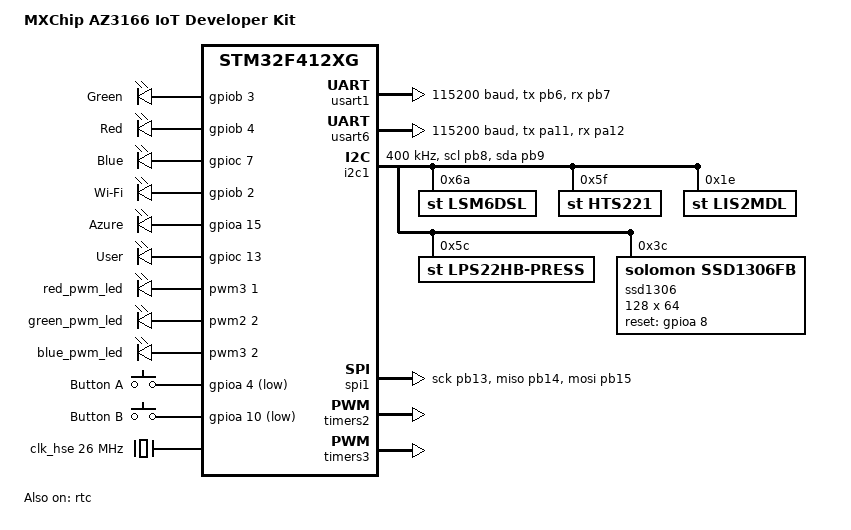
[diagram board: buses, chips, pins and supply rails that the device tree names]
/*
 * Copyright (c) 2023 Benjamin Cabé <benjamin@zephyrproject.org>
 *
 * SPDX-License-Identifier: Apache-2.0
 */

/dts-v1/;
#include <st/f4/stm32f412Xg.dtsi>
#include <st/f4/stm32f412r(e-g)tx-pinctrl.dtsi>
#include <zephyr/dt-bindings/input/input-event-codes.h>

/ {
	model = "MXChip AZ3166 IoT Developer Kit";
	compatible = "mxchip,az3166_iotdevkit";

	aliases {
		led0 = &user_led;
		pwm-led0 = &blue_pwm_led;
		sw0 = &button_a;

		red-led = &red_led;
		green-led = &green_led;
		blue-led = &blue_led;

		red-pwm-led = &red_pwm_led;
		green-pwm-led = &green_pwm_led;
		blue-pwm-led = &blue_pwm_led;
	};

	chosen {
		zephyr,console = &usart6;
		zephyr,shell-uart = &usart6;
		zephyr,sram = &sram0;
		zephyr,flash = &flash0;
		zephyr,display = &ssd1306;
	};

	leds {
		compatible = "gpio-leds";
		green_led: green_led {
			gpios = <&gpiob 3 GPIO_ACTIVE_HIGH>;
			label = "Green";
		};
		red_led: red_led {
			gpios = <&gpiob 4 GPIO_ACTIVE_HIGH>;
			label = "Red";
		};
		blue_led: blue_led {
			gpios = <&gpioc 7 GPIO_ACTIVE_HIGH>;
			label = "Blue";
		};
		wifi_led: wifi_led {
			gpios = <&gpiob 2 GPIO_ACTIVE_HIGH>;
			label = "Wi-Fi";
		};
		azure_led: azure_led {
			gpios = <&gpioa 15 GPIO_ACTIVE_HIGH>;
			label = "Azure";
		};
		user_led: user_led {
			gpios = <&gpioc 13 GPIO_ACTIVE_HIGH>;
			label = "User";
		};
	};

	pwmleds {
		compatible = "pwm-leds";
		red_pwm_led: red_pwm_led {
			pwms = <&pwm3 1 PWM_MSEC(20) PWM_POLARITY_NORMAL>;
		};
		green_pwm_led: green_pwm_led {
			pwms = <&pwm2 2 PWM_MSEC(20) PWM_POLARITY_NORMAL>;
		};
		blue_pwm_led: blue_pwm_led {
			pwms = <&pwm3 2 PWM_MSEC(20) PWM_POLARITY_NORMAL>;
		};
	};

	buttons {
		compatible = "gpio-keys";
		button_a: button_a {
			gpios = <&gpioa 4 (GPIO_ACTIVE_LOW | GPIO_PULL_DOWN)>;
			label = "Button A";
			zephyr,code = <INPUT_KEY_A>;
		};

		button_b: button_b {
			gpios = <&gpioa 10 (GPIO_ACTIVE_LOW | GPIO_PULL_DOWN)>;
			label = "Button B";
			zephyr,code = <INPUT_KEY_B>;
		};
	};

};

&clk_lsi {
	status = "okay";
};

&clk_hse {
	clock-frequency = <DT_FREQ_M(26)>;
	status = "okay";
};

&pll {
	div-m = <13>;
	mul-n = <96>;
	div-p = <2>;
	div-q = <4>;
	clocks = <&clk_hse>;
	status = "okay";
};

&rcc {
	clocks = <&pll>;
	clock-frequency = <DT_FREQ_M(96)>;
	ahb-prescaler = <1>;
	apb1-prescaler = <2>;
	apb2-prescaler = <1>;
};

&usart1 {
	pinctrl-0 = <&usart1_tx_pb6 &usart1_rx_pb7>;
	pinctrl-names = "default";
	current-speed = <115200>;
	status = "okay";
};


&usart6 {
	pinctrl-0 = <&usart6_tx_pa11 &usart6_rx_pa12>;
	pinctrl-names = "default";
	current-speed = <115200>;
	status = "okay";
};

&i2c1 {
	pinctrl-0 = <&i2c1_scl_pb8 &i2c1_sda_pb9>;
	pinctrl-names = "default";
	clock-frequency = <I2C_BITRATE_FAST>;
	status = "okay";

	lsm6dsl@6a {
		compatible = "st,lsm6dsl";
		reg = <0x6a>;
	};

	hts221@5f {
		compatible = "st,hts221";
		reg = <0x5f>;
	};

	lis2mdl@1e {
		compatible = "st,lis2mdl";
		reg = <0x1e>;
	};

	lps22hb-press@5c {
		compatible = "st,lps22hb-press";
		reg = <0x5c>;
	};

	ssd1306: ssd1306@3c {
		compatible = "solomon,ssd1306fb";
		reg = <0x3c>;
		width = <128>;
		height = <64>;
		segment-offset = <0>;
		page-offset = <0>;
		display-offset = <0>;
		multiplex-ratio = <63>;
		segment-remap;
		com-invdir;
		prechargep = <0x22>;
		inversion-on;

		reset-gpios = <&gpioa 8 GPIO_ACTIVE_HIGH>;
	};
};

&spi1 {
	pinctrl-0 = <&spi2_sck_pb13 &spi2_miso_pb14 &spi2_mosi_pb15>;
	pinctrl-names = "default";
	status = "okay";
};

&timers2 {
	st,prescaler = <10000>;
	status = "okay";

	pwm2: pwm {
		status = "okay";
		pinctrl-0 = <&tim2_ch2_pb3>;
		pinctrl-names = "default";
	};
};

&timers3 {
	st,prescaler = <10000>;
	status = "okay";

	pwm3: pwm {
		status = "okay";
		pinctrl-0 = <&tim3_ch1_pb4 &tim3_ch2_pc7>;
		pinctrl-names = "default";
	};
};

&rtc {
	clocks = <&rcc STM32_CLOCK(APB1, 28)>,
		 <&rcc STM32_SRC_LSI RTC_SEL(2)>;
	status = "okay";
};
